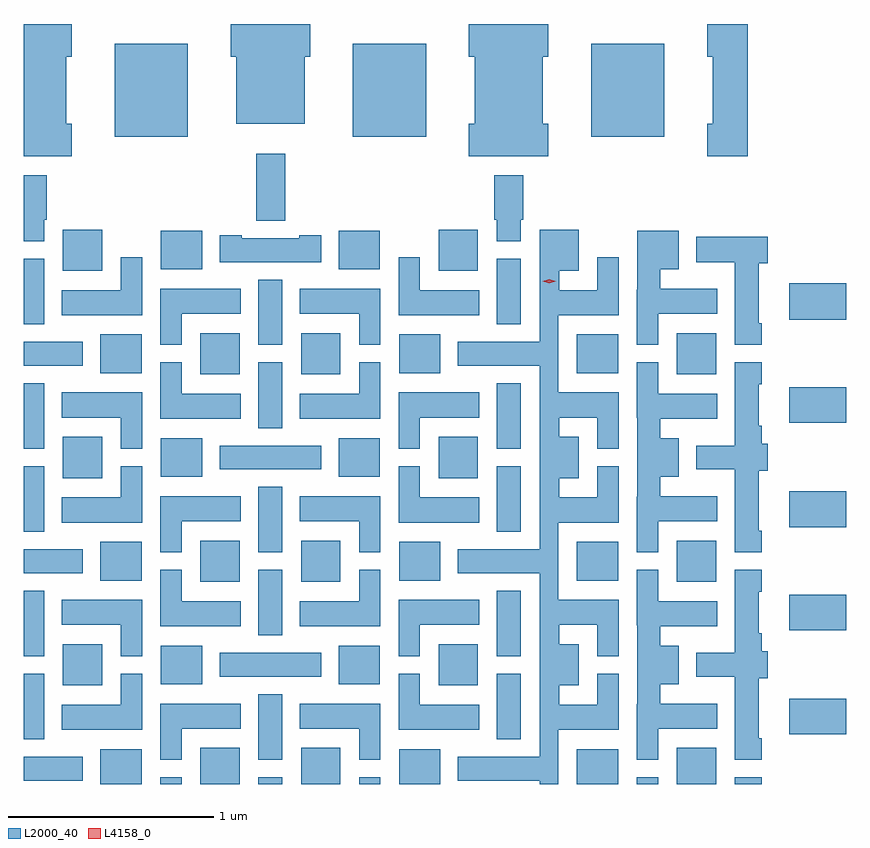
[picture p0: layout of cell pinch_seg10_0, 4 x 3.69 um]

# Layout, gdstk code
import gdstk
lib = gdstk.Library(unit=1e-6, precision=1e-09)
def R(c, l, rs):  # rectangles x0, y0, x1, y1
    for r in rs: c.add(gdstk.rectangle(r[:2], r[2:], *l))
def A(c, l, x, y, w, h, nx, ny, dx, dy):  # array of equal rectangles
    R(c, l, [(x+i*dx, y+j*dy, x+i*dx+w, y+j*dy+h) for i in range(nx) for j in range(ny)])
def P(c, l, *ps):  # polygons
    for p in ps: c.add(gdstk.Polygon(p, *l))
L2000_40 = (2000, 40)
L4158_0 = (4158, 0)

pinch_seg10_0 = lib.new_cell('pinch_seg10_0')
A(pinch_seg10_0, L2000_40, 1144.836, 1305.98, 0.289, 0.116, 1, 3, 0, 1.008)
A(pinch_seg10_0, L2000_40, 1145.978, 1306.081, 0.116, 0.318, 1, 3, 0, 1.008)
A(pinch_seg10_0, L2000_40, 1144.836, 1306.181, 0.1, 0.319, 1, 3, 0, 1.008)
A(pinch_seg10_0, L2000_40, 1147.136, 1306.181, 0.116, 0.319, 1, 3, 0, 1.008)
A(pinch_seg10_0, L2000_40, 1145.027, 1306.442, 0.191, 0.2, 1, 3, 0, 1.008)
A(pinch_seg10_0, L2000_40, 1146.854, 1306.442, 0.191, 0.2, 1, 3, 0, 1.008)
A(pinch_seg10_0, L2000_40, 1145.504, 1306.448, 0.2, 0.188, 1, 3, 0, 1.008)
A(pinch_seg10_0, L2000_40, 1146.368, 1306.448, 0.2, 0.188, 1, 3, 0, 1.008)
A(pinch_seg10_0, L2000_40, 1145.279, 1309.109, 0.356, 0.452, 3, 1, 1.158, 0)
R(pinch_seg10_0, L2000_40, [(1145.21,1305.963,1145.41,1306.132), (1145.501,1305.963,1145.605,1305.996), (1145.696,1305.963,1145.887,1306.138), (1145.978,1305.963,1146.094,1305.996), (1146.185,1305.963,1146.376,1306.138), (1146.467,1305.963,1146.571,1305.996), (1146.662,1305.963,1146.862,1306.132), (1147.526,1305.963,1147.726,1306.132), (1147.817,1305.963,1147.921,1305.996), (1148.012,1305.963,1148.203,1306.138), (1148.294,1305.963,1148.423,1305.996), (1148.559,1306.204,1148.836,1306.377), (1145.789,1306.484,1146.283,1306.6), (1144.836,1306.585,1144.936,1306.903), (1147.136,1306.585,1147.252,1306.903), (1145.978,1306.685,1146.094,1307.004), (1148.559,1306.711,1148.836,1306.884), (1145.696,1306.946,1145.887,1307.146), (1146.185,1306.946,1146.376,1307.146), (1148.012,1306.946,1148.203,1307.146), (1145.21,1306.952,1145.41,1307.14), (1146.662,1306.952,1146.862,1307.14), (1147.526,1306.952,1147.726,1307.14), (1148.559,1307.212,1148.836,1307.385), (1145.789,1307.492,1146.283,1307.608), (1144.836,1307.593,1144.936,1307.911), (1147.136,1307.593,1147.252,1307.911), (1145.978,1307.693,1146.094,1308.012), (1148.559,1307.719,1148.836,1307.892), (1145.696,1307.954,1145.887,1308.154), (1146.185,1307.954,1146.376,1308.154), (1148.012,1307.954,1148.203,1308.154), (1145.21,1307.96,1145.41,1308.148), (1146.662,1307.96,1146.862,1308.148), (1147.526,1307.96,1147.726,1308.148), (1148.559,1308.22,1148.836,1308.398), (1145.966,1308.701,1146.107,1309.027)])
P(pinch_seg10_0, L2000_40, [(1145.071,1309.173),(1145.044,1309.173),(1145.044,1309.497),(1145.071,1309.497),(1145.071,1309.657),(1144.836,1309.657),(1144.836,1309.013),(1145.071,1309.013)],
  [(1147.387,1309.173),(1147.36,1309.173),(1147.36,1309.497),(1147.387,1309.497),(1147.387,1309.657),(1147.001,1309.657),(1147.001,1309.497),(1147.028,1309.497),(1147.028,1309.173),(1147.001,1309.173),(1147.001,1309.013),(1147.387,1309.013)],
  [(1146.202,1309.497),(1146.229,1309.497),(1146.229,1309.657),(1145.843,1309.657),(1145.843,1309.497),(1145.87,1309.497),(1145.87,1309.172),(1146.202,1309.172)],
  [(1148.356,1309.657),(1148.159,1309.657),(1148.159,1309.497),(1148.186,1309.497),(1148.186,1309.173),(1148.159,1309.173),(1148.159,1309.013),(1148.356,1309.013)],
  [(1144.936,1308.706),(1144.949,1308.706),(1144.949,1308.922),(1144.836,1308.922),(1144.836,1308.601),(1144.936,1308.601)],
  [(1147.252,1308.706),(1147.265,1308.706),(1147.265,1308.922),(1147.124,1308.922),(1147.124,1308.706),(1147.136,1308.706),(1147.136,1308.601),(1147.252,1308.601)],
  [(1147.436,1306.226),(1147.729,1306.226),(1147.729,1306.5),(1147.625,1306.5),(1147.625,1306.348),(1147.44,1306.348),(1147.44,1306.442),(1147.534,1306.442),(1147.534,1306.642),(1147.44,1306.642),(1147.44,1306.736),(1147.625,1306.736),(1147.625,1306.585),(1147.729,1306.585),(1147.729,1306.858),(1147.436,1306.858),(1147.436,1307.234),(1147.729,1307.234),(1147.729,1307.508),(1147.625,1307.508),(1147.625,1307.356),(1147.44,1307.356),(1147.44,1307.45),(1147.534,1307.45),(1147.534,1307.65),(1147.44,1307.65),(1147.44,1307.744),(1147.625,1307.744),(1147.625,1307.593),(1147.729,1307.593),(1147.729,1307.866),(1147.436,1307.866),(1147.436,1308.242),(1147.729,1308.242),(1147.729,1308.523),(1147.625,1308.523),(1147.625,1308.364),(1147.44,1308.364),(1147.44,1308.458),(1147.534,1308.458),(1147.534,1308.658),(1147.345,1308.658),(1147.345,1308.112),(1146.947,1308.112),(1146.947,1307.996),(1147.345,1307.996),(1147.345,1307.104),(1146.947,1307.104),(1146.947,1306.988),(1147.345,1306.988),(1147.345,1306.096),(1146.947,1306.096),(1146.947,1305.98),(1147.345,1305.98),(1147.345,1305.963),(1147.436,1305.963)],
  [(1147.921,1308.248),(1148.209,1308.248),(1148.209,1308.37),(1147.931,1308.37),(1147.931,1308.464),(1148.02,1308.464),(1148.02,1308.652),(1147.82,1308.652),(1147.82,1308.366),(1147.817,1308.366),(1147.817,1308.097),(1147.921,1308.097)],
  [(1146.283,1308.629),(1146.176,1308.629),(1146.176,1308.616),(1145.896,1308.616),(1145.896,1308.629),(1145.789,1308.629),(1145.789,1308.5),(1146.283,1308.5)],
  [(1148.423,1308.202),(1148.41,1308.202),(1148.41,1308.493),(1148.453,1308.493),(1148.453,1308.624),(1148.105,1308.624),(1148.105,1308.5),(1148.294,1308.5),(1148.294,1308.097),(1148.423,1308.097)],
  [(1147.051,1308.364),(1146.763,1308.364),(1146.763,1308.523),(1146.659,1308.523),(1146.659,1308.242),(1147.051,1308.242)],
  [(1145.413,1308.523),(1145.309,1308.523),(1145.309,1308.364),(1145.021,1308.364),(1145.021,1308.242),(1145.413,1308.242)],
  [(1146.571,1308.37),(1146.179,1308.37),(1146.179,1308.248),(1146.467,1308.248),(1146.467,1308.097),(1146.571,1308.097)],
  [(1145.605,1308.248),(1145.893,1308.248),(1145.893,1308.37),(1145.501,1308.37),(1145.501,1308.097),(1145.605,1308.097)],
  [(1145.893,1307.86),(1145.605,1307.86),(1145.605,1308.012),(1145.501,1308.012),(1145.501,1307.738),(1145.893,1307.738)],
  [(1148.423,1307.194),(1148.41,1307.194),(1148.41,1307.485),(1148.453,1307.485),(1148.453,1307.616),(1148.423,1307.616),(1148.423,1307.704),(1148.41,1307.704),(1148.41,1307.906),(1148.423,1307.906),(1148.423,1308.012),(1148.294,1308.012),(1148.294,1307.608),(1148.105,1307.608),(1148.105,1307.492),(1148.294,1307.492),(1148.294,1307.089),(1148.423,1307.089)],
  [(1147.921,1307.24),(1148.209,1307.24),(1148.209,1307.362),(1147.931,1307.362),(1147.931,1307.456),(1148.02,1307.456),(1148.02,1307.644),(1147.931,1307.644),(1147.931,1307.738),(1148.209,1307.738),(1148.209,1307.86),(1147.921,1307.86),(1147.921,1308.012),(1147.817,1308.012),(1147.817,1307.742),(1147.82,1307.742),(1147.82,1307.358),(1147.817,1307.358),(1147.817,1307.089),(1147.921,1307.089)],
  [(1146.571,1308.012),(1146.467,1308.012),(1146.467,1307.86),(1146.179,1307.86),(1146.179,1307.738),(1146.571,1307.738)],
  [(1146.763,1307.744),(1147.051,1307.744),(1147.051,1307.866),(1146.659,1307.866),(1146.659,1307.593),(1146.763,1307.593)],
  [(1145.413,1307.866),(1145.021,1307.866),(1145.021,1307.744),(1145.309,1307.744),(1145.309,1307.593),(1145.413,1307.593)],
  [(1147.051,1307.356),(1146.763,1307.356),(1146.763,1307.508),(1146.659,1307.508),(1146.659,1307.234),(1147.051,1307.234)],
  [(1145.413,1307.508),(1145.309,1307.508),(1145.309,1307.356),(1145.021,1307.356),(1145.021,1307.234),(1145.413,1307.234)],
  [(1145.605,1307.24),(1145.893,1307.24),(1145.893,1307.362),(1145.501,1307.362),(1145.501,1307.089),(1145.605,1307.089)],
  [(1146.571,1307.362),(1146.179,1307.362),(1146.179,1307.24),(1146.467,1307.24),(1146.467,1307.089),(1146.571,1307.089)],
  [(1147.921,1306.232),(1148.209,1306.232),(1148.209,1306.354),(1147.931,1306.354),(1147.931,1306.448),(1148.02,1306.448),(1148.02,1306.636),(1147.931,1306.636),(1147.931,1306.73),(1148.209,1306.73),(1148.209,1306.852),(1147.921,1306.852),(1147.921,1307.004),(1147.817,1307.004),(1147.817,1306.734),(1147.82,1306.734),(1147.82,1306.35),(1147.817,1306.35),(1147.817,1306.081),(1147.921,1306.081)],
  [(1148.423,1306.186),(1148.41,1306.186),(1148.41,1306.477),(1148.453,1306.477),(1148.453,1306.608),(1148.423,1306.608),(1148.423,1306.696),(1148.41,1306.696),(1148.41,1306.898),(1148.423,1306.898),(1148.423,1307.004),(1148.294,1307.004),(1148.294,1306.6),(1148.105,1306.6),(1148.105,1306.484),(1148.294,1306.484),(1148.294,1306.081),(1148.423,1306.081)],
  [(1145.893,1306.852),(1145.605,1306.852),(1145.605,1307.004),(1145.501,1307.004),(1145.501,1306.73),(1145.893,1306.73)],
  [(1146.571,1307.004),(1146.467,1307.004),(1146.467,1306.852),(1146.179,1306.852),(1146.179,1306.73),(1146.571,1306.73)],
  [(1145.413,1306.858),(1145.021,1306.858),(1145.021,1306.736),(1145.309,1306.736),(1145.309,1306.585),(1145.413,1306.585)],
  [(1146.763,1306.736),(1147.051,1306.736),(1147.051,1306.858),(1146.659,1306.858),(1146.659,1306.585),(1146.763,1306.585)],
  [(1145.413,1306.5),(1145.309,1306.5),(1145.309,1306.348),(1145.021,1306.348),(1145.021,1306.226),(1145.413,1306.226)],
  [(1147.051,1306.348),(1146.763,1306.348),(1146.763,1306.5),(1146.659,1306.5),(1146.659,1306.226),(1147.051,1306.226)],
  [(1146.571,1306.354),(1146.179,1306.354),(1146.179,1306.232),(1146.467,1306.232),(1146.467,1306.081),(1146.571,1306.081)],
  [(1145.605,1306.232),(1145.893,1306.232),(1145.893,1306.354),(1145.501,1306.354),(1145.501,1306.081),(1145.605,1306.081)])
P(pinch_seg10_0, L4158_0, [(1147.392,1308.396),(1147.36,1308.406),(1147.36,1308.406),(1147.36,1308.406),(1147.392,1308.416),(1147.424,1308.406),(1147.424,1308.406),(1147.424,1308.406)])

lib.write_gds('pinch_seg10_0.gds')
